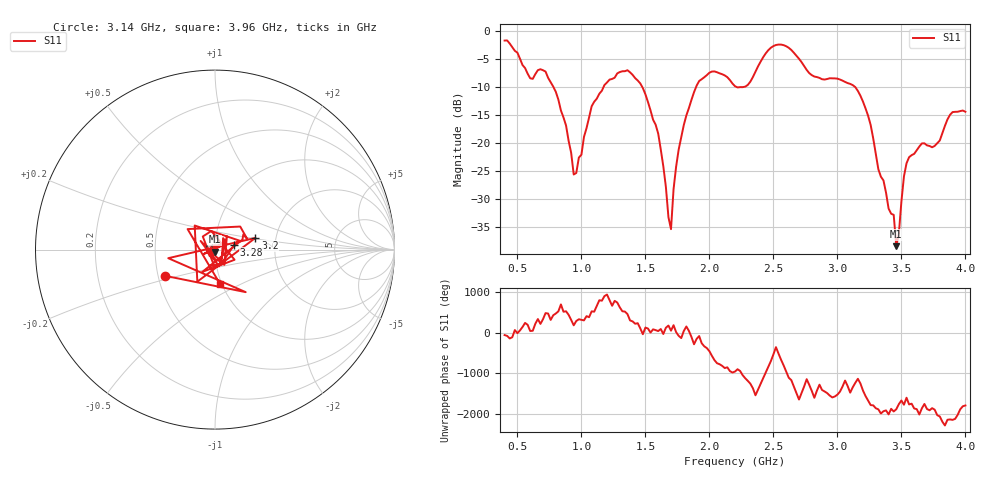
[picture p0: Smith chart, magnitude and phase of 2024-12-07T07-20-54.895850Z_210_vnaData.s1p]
!Created with skrf (http://scikit-rf.org).
# Hz S RI R 50.0
!freq ReS11 ImS11
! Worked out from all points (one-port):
!   181 points, 400 MHz to 4 GHz, reference 50 ohm
!   lowest |S11| = -38.4 dB at 3.46 GHz (marker M1), VSWR 1.02, Z = 50.2 - j1.2 ohm
!   |S11| at or under -10 dB: 781.8 MHz to 1.173 GHz (390.8 MHz wide, 40 % of centre); 1.476 GHz to 1.896 GHz (419.6 MHz wide, 24.9 % of centre); 3.14 GHz to end of sweep (the widest 3 of 4)
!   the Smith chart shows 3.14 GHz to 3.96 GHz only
!   S11 on the Smith chart (normalised r, x): 3.14 GHz: 0.54, -0.18; 3.2 GHz: 1.56, +0.22; 3.28 GHz: 1.24, +0.07; 3.96 GHz: 0.98, -0.39
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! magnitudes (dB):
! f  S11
! 400 MHz  -1.7
! 600 MHz  -8.4
! 720 MHz  -7.2
! 860 MHz  -15.4
! 940 MHz  -25.6
! 960 MHz  -25.3
! 1.08 GHz  -13.4
! 1.3 GHz  -7.3
! 1.46 GHz  -9.3
! 1.58 GHz  -16.7
! 1.7 GHz  -35.3
! 1.72 GHz  -28.2
! 1.76 GHz  -21.1
! 1.92 GHz  -8.9
! 2.2 GHz  -9.8
! 2.5 GHz  -2.7
! 2.66 GHz  -3.9
! 3.1 GHz  -9.4
! 3.14 GHz  -10.0
! 3.2 GHz  -12.6
! 3.28 GHz  -19.2
! 3.4 GHz  -31.7
! 3.44 GHz  -32.8
! 3.46 GHz  -38.4
! 3.52 GHz  -25.9
! 3.56 GHz  -22.5
! 3.96 GHz  -14.3
! 4 GHz  -14.4
